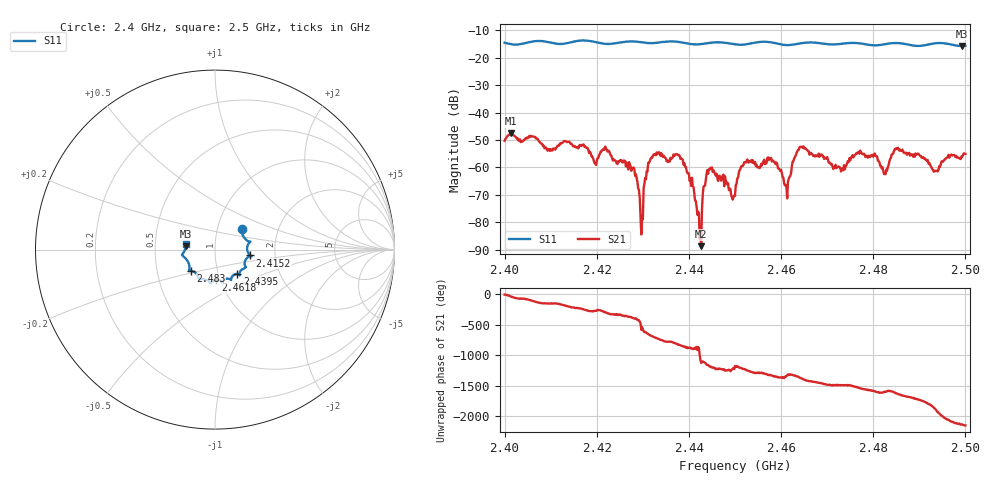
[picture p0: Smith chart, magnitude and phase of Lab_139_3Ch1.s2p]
# Hz S RI R 50
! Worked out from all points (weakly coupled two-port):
!   601 points, 2.4 GHz to 2.5 GHz, reference 50 ohm
!   highest |S21| = -47.60 dB at 2.4013 GHz (marker M1); lowest = -88.7 dB at 2.4427 GHz (marker M2)
!   lowest |S11| = -15.7 dB at 2.4992 GHz (marker M3), VSWR 1.39, Z = 36 + j1.35 ohm
!   |S11| at or under -10 dB: start of sweep to end of sweep
!   S12 and S22 are empty: the file has one direction only
!   S11 on the Smith chart (normalised r, x): 2.4 GHz: 1.31, +0.31; 2.4152 GHz: 1.48, -0.10; 2.4395 GHz: 1.23, -0.34; 2.4618 GHz: 0.95, -0.34; 2.483 GHz: 0.74, -0.18; 2.5 GHz: 0.72, +0.05
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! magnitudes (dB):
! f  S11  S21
! 2.4 GHz  -14.5  -50.3
! 2.4013 GHz  -15.0  -47.6
! 2.4152 GHz  -14.0  -52.1
! 2.4167 GHz  -13.7  -52.1
! 2.4275 GHz  -14.0  -61.2
! 2.4295 GHz  -14.3  -77.8
! 2.4313 GHz  -14.6  -58.2
! 2.4333 GHz  -14.4  -54.7
! 2.4395 GHz  -14.7  -61.1
! 2.4427 GHz  -15.0  -88.7
! 2.4445 GHz  -14.5  -60.7
! 2.45 GHz  -15.1  -70.4
! 2.4525 GHz  -15.1  -58.1
! 2.4618 GHz  -15.3  -63.4
! 2.464 GHz  -14.8  -52.6
! 2.4667 GHz  -14.4  -55.1
! 2.483 GHz  -14.9  -61.1
! 2.4833 GHz  -14.8  -59.2
! 2.485 GHz  -14.6  -52.9
! 2.4935 GHz  -14.7  -61.3
! 2.4992 GHz  -15.7  -55.9
! 2.5 GHz  -15.6  -55.0
